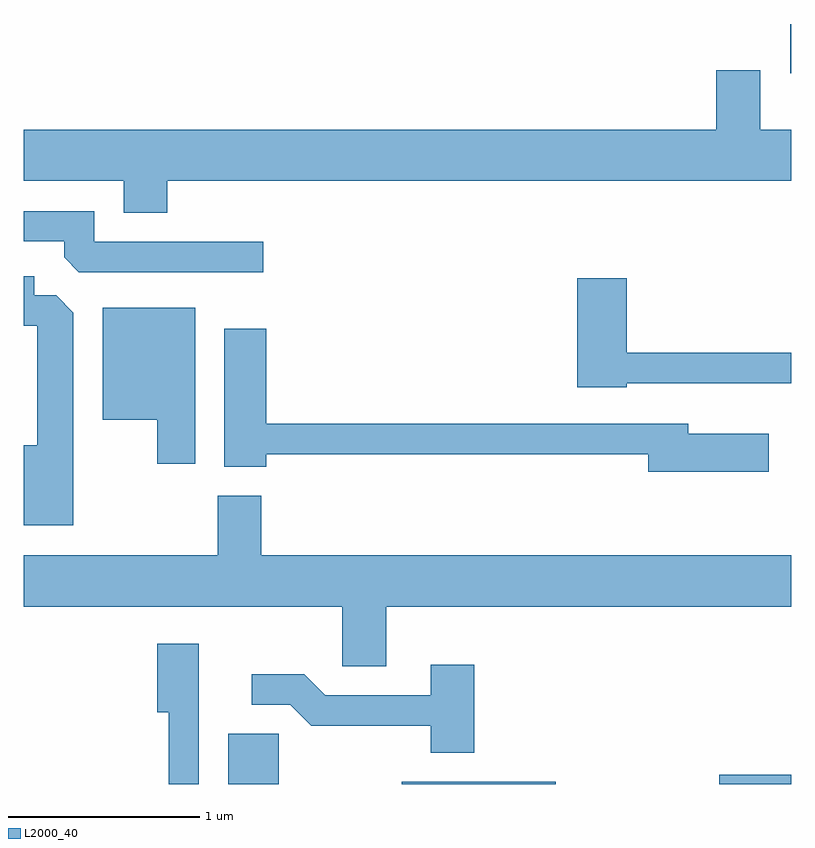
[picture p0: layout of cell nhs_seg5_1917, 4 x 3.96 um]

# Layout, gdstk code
import gdstk
lib = gdstk.Library(unit=1e-6, precision=1e-09)
def R(c, l, rs):  # rectangles x0, y0, x1, y1
    for r in rs: c.add(gdstk.rectangle(r[:2], r[2:], *l))
def P(c, l, *ps):  # polygons
    for p in ps: c.add(gdstk.Polygon(p, *l))
L2000_40 = (2000, 40)

nhs_seg5_1917 = lib.new_cell('nhs_seg5_1917')
R(nhs_seg5_1917, L2000_40, [(242.676,1478.072,242.939,1478.334), (243.581,1478.072,244.384,1478.084), (245.236,1478.072,245.611,1478.119), (245.606,1481.776,245.611,1482.034)])
P(nhs_seg5_1917, L2000_40, [(242.359,1481.216),(245.611,1481.216),(245.611,1481.484),(245.449,1481.484),(245.449,1481.794),(245.221,1481.794),(245.221,1481.484),(241.611,1481.484),(241.611,1481.216),(242.131,1481.216),(242.131,1481.051),(242.359,1481.051)],
  [(242.858,1480.899),(241.979,1480.899),(241.979,1481.059),(241.611,1481.059),(241.611,1480.901),(241.821,1480.901),(241.821,1480.817),(241.897,1480.741),(242.858,1480.741)],
  [(241.869,1480.529),(241.779,1480.619),(241.664,1480.619),(241.664,1480.719),(241.611,1480.719),(241.611,1480.461),(241.681,1480.461),(241.681,1479.839),(241.611,1479.839),(241.611,1479.421),(241.869,1479.421)],
  [(244.754,1480.161),(245.611,1480.161),(245.611,1480.319),(244.754,1480.319),(244.754,1480.709),(244.496,1480.709),(244.496,1480.141),(244.754,1480.141)],
  [(242.504,1480.554),(242.021,1480.554),(242.021,1479.971),(242.306,1479.971),(242.306,1479.741),(242.504,1479.741)],
  [(245.494,1479.899),(245.074,1479.899),(245.074,1479.949),(242.874,1479.949),(242.874,1480.444),(242.656,1480.444),(242.656,1479.726),(242.874,1479.726),(242.874,1479.791),(244.866,1479.791),(244.866,1479.701),(245.494,1479.701)],
  [(243.499,1478.996),(245.611,1478.996),(245.611,1479.264),(242.849,1479.264),(242.849,1479.574),(242.621,1479.574),(242.621,1479.264),(241.611,1479.264),(241.611,1478.996),(243.271,1478.996),(243.271,1478.686),(243.499,1478.686)],
  [(242.524,1478.804),(242.306,1478.804),(242.306,1478.446),(242.366,1478.446),(242.366,1478.072),(242.524,1478.072)],
  [(243.959,1478.694),(243.731,1478.694),(243.731,1478.534),(243.182,1478.534),(243.072,1478.644),(242.798,1478.644),(242.798,1478.486),(242.999,1478.486),(243.109,1478.376),(243.731,1478.376),(243.731,1478.236),(243.959,1478.236)])

lib.write_gds('nhs_seg5_1917.gds')
